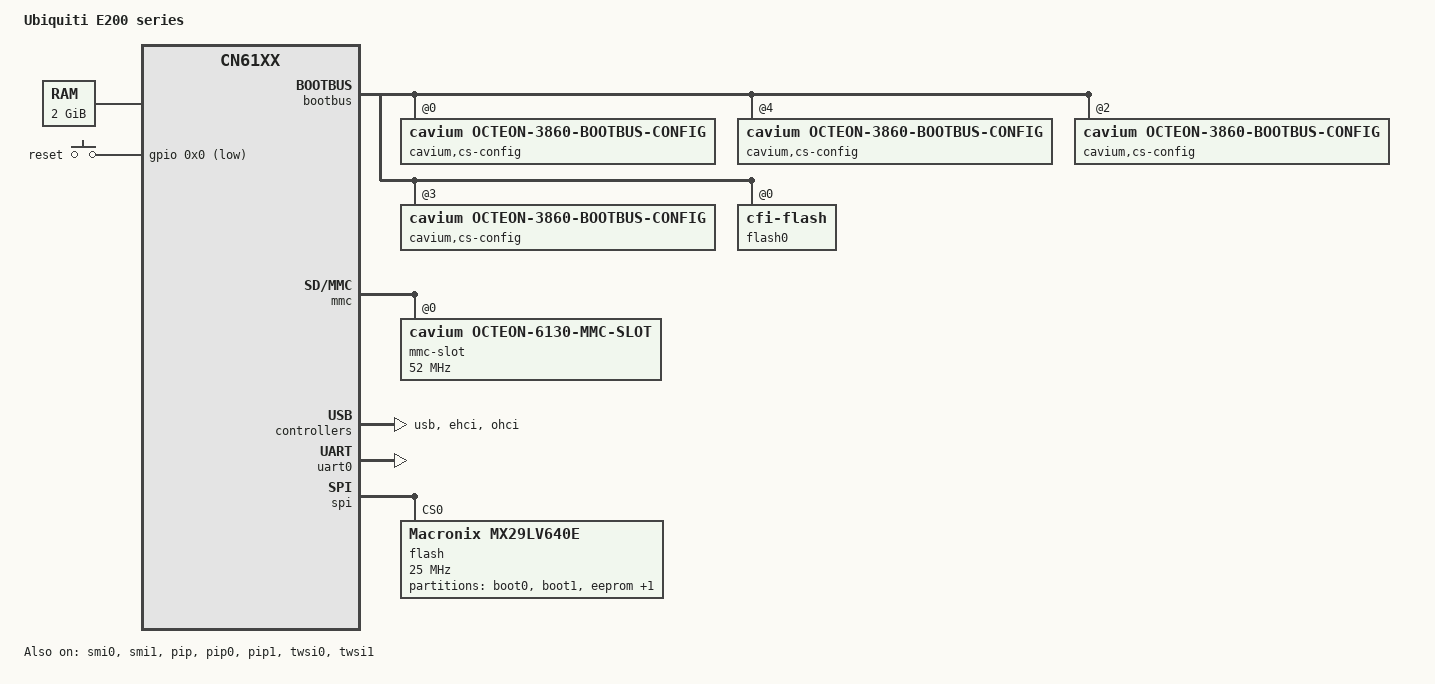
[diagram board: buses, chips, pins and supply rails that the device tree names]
// SPDX-License-Identifier: GPL-2.0-or-later OR MIT

#include "cn61xx.dtsi"

#include <dt-bindings/gpio/gpio.h>
#include <dt-bindings/input/input.h>
#include <dt-bindings/leds/common.h>

/ {
	compatible = "ubnt,e200", "cavium,cn61xx";
	model = "Ubiquiti E200 series";

	aliases {
		led-boot = &led_power;
		led-failsafe = &led_power;
		led-running = &led_power;
		led-upgrade = &led_power;
	};

	memory {
		device_type = "memory";
		reg = <0x0 0x00000000 0x0 0x10000000
		       0x0 0x20000000 0x0 0x70000000>;
	};

        leds {
                compatible = "gpio-leds";
        };

	keys {
		compatible = "gpio-keys-polled";
		poll-interval = <20>;

		reset {
			label = "reset";
			linux,code = <KEY_RESTART>;
			gpios = <&gpio 0x0 GPIO_ACTIVE_LOW>;
			debounce-interval = <60>;
		};
	};

	sfpmux: i2c-mux {
		status = "disabled";
		compatible = "i2c-mux-gpio";
		#address-cells = <1>;
		#size-cells = <0>;

		i2c-parent = <&twsi1>;
		mux-gpios = <&gpio 0xa GPIO_ACTIVE_HIGH>, <&gpio 0x9 GPIO_ACTIVE_HIGH>;

		sfp1_i2c: i2c@1 {
			reg = <1>;
		};

		sfp2_i2c: i2c@2 {
			reg = <2>;
		};
	};

	sfp1: sfp1 {
		status = "disabled";
		compatible = "sff,sfp";
		i2c-bus = <&sfp1_i2c>;
		mod-def0-gpios = <&gpio 0x1 GPIO_ACTIVE_LOW>;
		tx-disable-gpios = <&gpio 0xc (GPIO_ACTIVE_HIGH | GPIO_OPEN_DRAIN)>;
	};

	sfp2: sfp2 {
		status = "disabled";
		compatible = "sff,sfp";
		i2c-bus = <&sfp2_i2c>;
		mod-def0-gpios = <&gpio 0x2 GPIO_ACTIVE_LOW>;
		tx-disable-gpios = <&gpio 0xd (GPIO_ACTIVE_HIGH | GPIO_OPEN_DRAIN)>;
	};
};

&bootbus {
	cavium,cs-config@0 {
		compatible = "cavium,octeon-3860-bootbus-config";
		cavium,cs-index = <0>;
		cavium,t-adr = <10>;
		cavium,t-ce = <50>;
		cavium,t-oe = <50>;
		cavium,t-we = <35>;
		cavium,t-rd-hld = <25>;
		cavium,t-wr-hld = <35>;
		cavium,t-pause  = <0>;
		cavium,t-wait   = <300>;
		cavium,t-page   = <25>;
		cavium,t-rd-dly = <0>;

		cavium,pages     = <0>;
		cavium,bus-width = <8>;
	};

	cavium,cs-config@4 {
		compatible = "cavium,octeon-3860-bootbus-config";
		cavium,cs-index = <4>;
		cavium,t-adr  = <10>;
		cavium,t-ce   = <10>;
		cavium,t-oe   = <160>;
		cavium,t-we   = <100>;
		cavium,t-rd-hld = <0>;
		cavium,t-wr-hld = <0>;
		cavium,t-pause  = <50>;
		cavium,t-wait   = <300>;
		cavium,t-page   = <300>;
		cavium,t-rd-dly = <10>;

		cavium,pages     = <0>;
		cavium,bus-width = <8>;
	};

	cavium,cs-config@2 {
		compatible = "cavium,octeon-3860-bootbus-config";
		cavium,cs-index = <2>;
		cavium,t-adr  = <0>;
		cavium,t-ce   = <300>;
		cavium,t-oe   = <125>;
		cavium,t-we   = <150>;
		cavium,t-rd-hld = <100>;
		cavium,t-wr-hld = <300>;
		cavium,t-pause  = <0>;
		cavium,t-wait   = <300>;
		cavium,t-page   = <300>;
		cavium,t-rd-dly = <0>;

		cavium,pages     = <0>;
		cavium,bus-width = <16>;
	};

	cavium,cs-config@3 {
		compatible = "cavium,octeon-3860-bootbus-config";
		cavium,cs-index = <3>;
		cavium,t-adr  = <0>;
		cavium,t-ce   = <30>;
		cavium,t-oe   = <125>;
		cavium,t-we   = <150>;
		cavium,t-rd-hld = <100>;
		cavium,t-wr-hld = <30>;
		cavium,t-pause  = <0>;
		cavium,t-wait   = <30>;
		cavium,t-page   = <300>;
		cavium,t-rd-dly = <0>;

		cavium,pages     = <0>;
		cavium,wait-mode;
		cavium,bus-width = <16>;
	};

	flash0: nor@0,0 {
		compatible = "cfi-flash";
		reg = <0 0 0x800000>;
		#address-cells = <1>;
		#size-cells = <1>;
	};
};

&dma0 {
	status = "okay";
};

&dma1 {
	status = "okay";
};

&mmc {
	status = "okay";

	mmc-slot@0 {
		compatible = "cavium,octeon-6130-mmc-slot", "mmc-spi-slot";
		reg = <0>;
		voltage-ranges = <3300 3300>;
		spi-max-frequency = <52000000>;
		cavium,bus-max-width = <8>;
	};
};

&smi0 {
	status = "okay";

	phy0: ethernet-phy@4 {
		status = "disabled";
		compatible = "broadcom,bcm", "ethernet-phy-ieee802.3-c22";
		reg = <4>;
		interrupt-parent = <&gpio>;
	};

	phy1: ethernet-phy@5 {
		status = "disabled";
		compatible = "broadcom,bcm", "ethernet-phy-ieee802.3-c22";
		reg = <5>;
		interrupt-parent = <&gpio>;
	};

	phy2: ethernet-phy@6 {
		status = "disabled";
		compatible = "broadcom,bcm", "ethernet-phy-ieee802.3-c22";
		reg = <6>;
		interrupt-parent = <&gpio>;
	};

	phy3: ethernet-phy@7 {
		status = "disabled";
		compatible = "broadcom,bcm", "ethernet-phy-ieee802.3-c22";
		reg = <7>;
		interrupt-parent = <&gpio>;
	};

	phy4: ethernet-phy@0 {
		status = "disabled";
		compatible = "broadcom,bcm", "ethernet-phy-ieee802.3-c22";
		reg = <0>;
		interrupt-parent = <&gpio>;
	};

	phy5: ethernet-phy@1 {
		status = "disabled";
		compatible = "broadcom,bcm", "ethernet-phy-ieee802.3-c22";
		reg = <1>;
		interrupt-parent = <&gpio>;
	};

	phy6: ethernet-phy@2 {
		status = "disabled";
		compatible = "broadcom,bcm", "ethernet-phy-ieee802.3-c22";
		reg = <2>;
		interrupt-parent = <&gpio>;
	};

	phy7: ethernet-phy@3 {
		status = "disabled";
		compatible = "broadcom,bcm", "ethernet-phy-ieee802.3-c22";
		reg = <3>;
		interrupt-parent = <&gpio>;
	};
};

&smi1 {
	status = "okay";

	phy2sfp: ethernet-phy@0 {
		status = "disabled";
		compatible = "broadcom,bcm", "ethernet-phy-ieee802.3-c22";
		reg = <0>;
		interrupt-parent = <&gpio>;
		sfp = <&sfp1>;
	};

	phy3sfp: ethernet-phy@1 {
		status = "disabled";
		compatible = "broadcom,bcm", "ethernet-phy-ieee802.3-c22";
		reg = <1>;
		interrupt-parent = <&gpio>;
		sfp = <&sfp2>;
	};
};

&pip {
	status = "okay";
};

&pip0 {
	status = "okay";
};

&pip1 {
	status = "okay";
};

&twsi0 {
	status = "okay";
};

&twsi1 {
	status = "okay";
};

&usb {
	status = "okay";
};

&ehci {
	status = "okay";
};

&ohci {
	status = "okay";
};

&uart0 {
	status = "okay";
	clock-frequency = <600000000>;
};

&spi {
	status = "okay";

	flash@0 {
		#address-cells = <1>;
		#size-cells = <1>;
		compatible = "Macronix,mx29lv640e", "spi-flash";
		reg = <0>;
		spi-max-frequency = <25000000>;

		partitions {
			compatible = "fixed-partitions";
			#address-cells = <1>;
			#size-cells = <1>;

			partition@0 {
				label = "boot0";
				read-only;
				reg = <0x00000 0xa0000>;
			};

			partition@a0000 {
				label = "boot1";
				read-only;
				reg = <0xa0000 0xa0000>;
			};

			partition@140000 {
				label = "eeprom";
				read-only;
				reg = <0x140000 0x10000>;

				nvmem-layout {
					compatible = "fixed-layout";
					#address-cells = <1>;
					#size-cells = <1>;

					macaddr_eeprom_0: macaddr@0 {
						compatible = "mac-base";
						reg = <0x0 0x6>;
						#nvmem-cell-cells = <1>;
					};
				};
			};

			partition@7fe000 {
				label = "u-boot_env";
				read-only;
				reg = <0x7fe000 0x2000>;
			};
		};
	};
};
